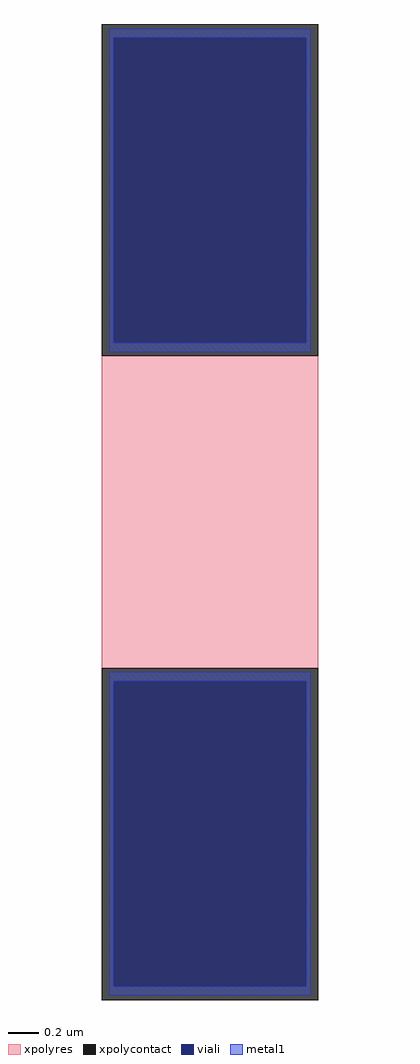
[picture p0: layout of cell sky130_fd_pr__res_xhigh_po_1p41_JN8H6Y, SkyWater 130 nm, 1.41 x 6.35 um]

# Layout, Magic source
magic
tech sky130A
magscale 1 2
<< xpolycontact >>
rect -141 203 141 635
rect -141 -635 141 -203
<< xpolyres >>
rect -141 -203 141 203
<< viali >>
rect -125 220 125 617
rect -125 -617 125 -220
<< metal1 >>
rect -131 617 131 629
rect -131 220 -125 617
rect 125 220 131 617
rect -131 208 131 220
rect -131 -220 131 -208
rect -131 -617 -125 -220
rect 125 -617 131 -220
rect -131 -629 131 -617
<< properties >>
string gencell sky130_fd_pr__res_xhigh_po_1p41
string library sky130
string parameters w 1.410 l 2.194 m 1 nx 1 wmin 1.410 lmin 0.50 rho 2000 val 3.379k dummy 0 dw 0.0 term 188.2 sterm 0.0 caplen 0 wmax 1.410 guard 0 glc 1 grc 1 gtc 1 gbc 1 compatible {sky130_fd_pr__res_xhigh_po_0p35  sky130_fd_pr__res_xhigh_po_0p69 sky130_fd_pr__res_xhigh_po_1p41  sky130_fd_pr__res_xhigh_po_2p85 sky130_fd_pr__res_xhigh_po_5p73} snake 0 full_metal 1 n_guard 0 hv_guard 0 vias 1 viagb 0 viagt 0 viagl 0 viagr 0
<< end >>
